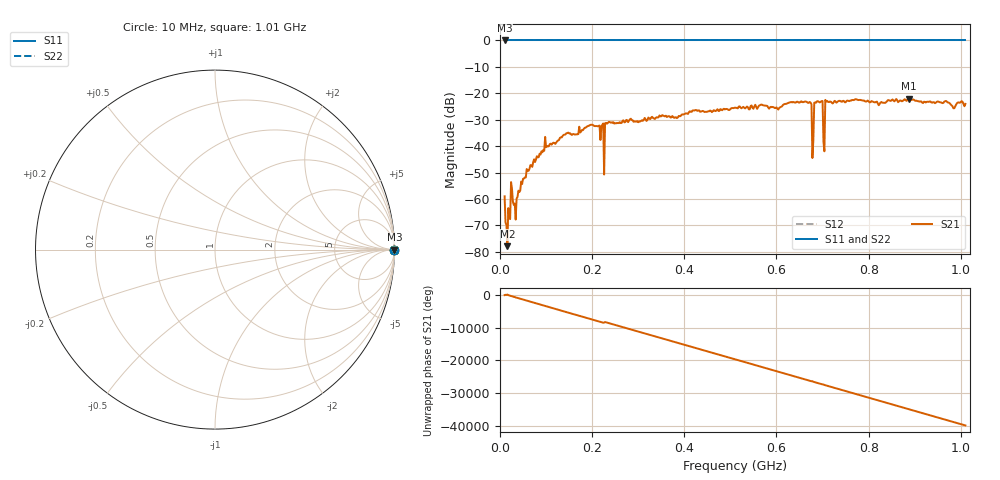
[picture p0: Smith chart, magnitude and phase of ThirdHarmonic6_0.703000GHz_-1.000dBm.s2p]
! 8/15/2025 11:29:57 PM
! C:\ANRITSUVNA\TEMP\TEMP.S2P
! CHANNEL.1
! TR.MEASUREMENT
! RAW.DATA
! RF.CORRECTION.OFF
! AVERAGING.OFF
! IF.BANDWIDTH: 5KHZ
! SWEEPTYPE:  FREQ.SWEEP(Linear)
! Reference Plane Port Info
! PORT:  PORT1  PORT2
! DISTANCE:  0  m  0  m
! TIME:  0  s  0  s
! PHASE.OFFSET:  0  deg.  0  deg.
! LOSS:  0  dB  0  dB
! REF.LOSS:  0  dB  0  dB
! REF.FREQ:  0  Hz  0  Hz
! Power Info
! POWER:  -20  dBm  -20  dBm
! EFF.POWER:  -20  dBm  -20  dBm
! SOURCE.ATTEN:  0  dB  0  dB
! TEST.ATTEN:  0  dB  0  dB
# GHZ S RI R 50.0
! FREQ.GHZ  S11RE  S11IM  S21RE  S21IM  S12RE  S12IM  S22RE  S22IM
!; PortSelection: Port_12
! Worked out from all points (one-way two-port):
!   501 points, 10 MHz to 1.01 GHz, reference 50 ohm
!   highest |S21| = -22.02 dB at 888 MHz (marker M1); lowest = -77.9 dB at 16 MHz (marker M2)
!   lowest |S11| = 0.0 dB at 10 MHz (marker M3)
!   |S11| at or under -10 dB: nowhere
!   |S22| runs from 0.0 to 0.0 dB; largest |S21 - S12| = 1.1
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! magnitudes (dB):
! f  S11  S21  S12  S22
! 10 MHz  0.0  -59.0  0.0  0.0
! 16 MHz  0.0  -77.9  0.0  0.0
! 28 MHz  0.0  -61.1  0.0  0.0
! 34 MHz  0.0  -67.8  0.0  0.0
! 94 MHz  0.0  -41.5  0.0  0.0
! 178 MHz  0.0  -33.9  0.0  0.0
! 212 MHz  0.0  -32.5  0.0  0.0
! 222 MHz  0.0  -31.9  0.0  0.0
! 232 MHz  0.0  -31.5  0.0  0.0
! 344 MHz  0.0  -29.1  0.0  0.0
! 510 MHz  0.0  -25.4  0.0  0.0
! 664 MHz  0.0  -23.2  0.0  0.0
! 672 MHz  0.0  -23.3  0.0  0.0
! 678 MHz  0.0  -44.5  0.0  0.0
! 686 MHz  0.0  -23.5  0.0  0.0
! 696 MHz  0.0  -23.2  0.0  0.0
! 700 MHz  0.0  -22.9  0.0  0.0
! 706 MHz  0.0  -22.5  0.0  0.0
! 710 MHz  0.0  -22.9  0.0  0.0
! 844 MHz  0.0  -22.6  0.0  0.0
! 888 MHz  0.0  -22.0  0.0  0.0
! 1.01 GHz  0.0  -24.0  0.0  0.0
